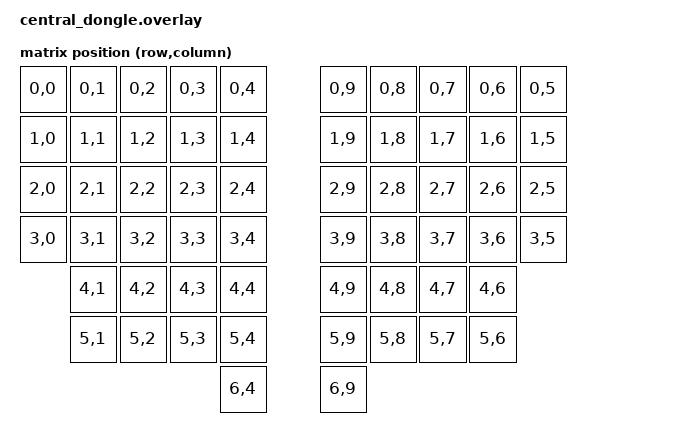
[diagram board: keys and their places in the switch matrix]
#include <dt-bindings/zmk/matrix_transform.h>
#include "JSsplit_layout.dtsi"
#include "JSsplit.dtsi"

&physical_layout0 {
    transform = <&default_transform>;
};

// == Input devices ==
// Input devices on peripheral parts
// Enabling input listeners and input-split to receive input events from peripherals
&input_split_right0 { status = "okay"; };
&input_listener_right0 { status = "okay"; };

/ {
    chosen {
        zmk,kscan = &mock_kscan;
        /*zmk,matrix-transform = &default_transform;*/
        zmk,physical-layout = &physical_layout0;
    };

    default_transform: keymap_transform_0 {
        compatible = "zmk,matrix-transform";
		columns = <10>;
		rows = <7>;
        /*row-offset = <7>;*/

		map = <
				RC(0,0) RC(0,1) RC(0,2) RC(0,3) RC(0,4)         RC(0,9) RC(0,8) RC(0,7) RC(0,6) RC(0,5)
				RC(1,0) RC(1,1) RC(1,2) RC(1,3) RC(1,4)         RC(1,9) RC(1,8) RC(1,7) RC(1,6) RC(1,5)
				RC(2,0) RC(2,1) RC(2,2) RC(2,3) RC(2,4)         RC(2,9) RC(2,8) RC(2,7) RC(2,6) RC(2,5)
				RC(3,0)	RC(3,1)	RC(3,2) RC(3,3) RC(3,4)         RC(3,9) RC(3,8) RC(3,7) RC(3,6) RC(3,5)
						RC(4,1)	RC(4,2) RC(4,3) RC(4,4)			RC(4,9)	RC(4,8) RC(4,7)	RC(4,6)			
						RC(5,1)	RC(5,2) RC(5,3) RC(5,4)         RC(5,9) RC(5,8) RC(5,7) RC(5,6)		
												RC(6,4)         RC(6,9)
		>;
    };

    mock_kscan: kscan_0 {
        compatible = "zmk,kscan-mock";
        columns = <0>;
        rows = <0>;
        events = <0>;
    };
};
